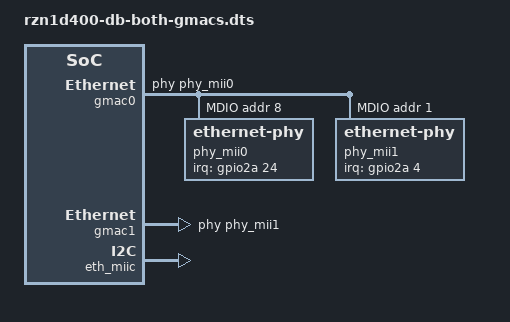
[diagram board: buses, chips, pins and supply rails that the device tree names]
/*
 * Device Tree Source for the RZN1D Demo Board
 * This dts makes Linux control both GMACs. The Cortex M3 controls the PHYs
 * connected to MII3,4,5. These could be controlled using the HWRTOS-GMAC and
 * 5-Port Switch, EtherCAT or SERCOS.
 *
 * This dts sets up:
 *  - GMAC1 is direct to PHY1 (connector J22)
 *  - GMAC2 is direct to PHY2 (connector J23)
 *  - GMAC1 is MDIO1 master
 *  - GMAC1 performs MDIO for both PHY1 and PHY2
 *
 * Note: This dts sets the Mode Control to 0x0b. If you Cortex M3 code sets it
 * to a different value, remove the mode_control line from this file.
 *
 * RZ/N1 Extension Board switches:
 *  - CN15 PHY2/PHY3 MDC  Connect pins 1 and 2 (MDC1)
 *  - CN16 PHY2/PHY3 MDIO Connect pins 1 and 2 (MDIO1)
 * Note: PHY3 is not accessible via MDIO in this hardware configuration.
 *
 * Copyright (C) 2018 Renesas Electronics Europe Ltd
 *
 * This file is licensed under the terms of the GNU General Public License
 * version 2.  This program is licensed "as is" without any warranty of any
 * kind, whether express or implied.
 */

#include "rzn1d400-db.dts"

&gmac0 {
	/* Only accessible from the Ext Board */
	status = "okay";
	pinctrl-names = "default";
	pinctrl-0 = <&pins_mdio0>, <&pins_eth0>;

	phy-handle = <&phy_mii0>;

	mdio0 {
		#address-cells = <1>;
		#size-cells = <0>;
		compatible = "snps,dwmac-mdio";
		phy_mii0: ethernet-phy@8 {
			/* Ext Board: Marvell 88E1512 PHY on J22 */
			device_type = "ethernet-phy";
			phy-mode = "rgmii-id";
			reg = <8>;
			/* Set LED0 as active low link status, LED2 as interrupt */
			marvell,reg-init = <3 16 0 0x1010 3 18 0 0x4980>;
			interrupt-parent = <&gpio2a>;
			interrupts = <24 IRQ_TYPE_LEVEL_LOW>;
		};
		phy_mii1: ethernet-phy@1 {
			/* Ext Board: Marvell 88E1512 PHY on J23 */
			device_type = "ethernet-phy";
			phy-mode = "rgmii-id";
			reg = <1>;
			/* Set LED0 as active low link status, LED2 as interrupt */
			marvell,reg-init = <3 16 0 0x1010 3 18 0 0x4980>;
			interrupt-parent = <&gpio2a>;
			interrupts = <4 IRQ_TYPE_LEVEL_LOW>;
		};
	};
};

&gmac1 {
	status = "okay";
	pinctrl-names = "default";
	pinctrl-0 = <&pins_eth1>;

	phy-handle = <&phy_mii1>;
};

&eth_miic {
	status = "okay";
	pinctrl-names = "default";
	pinctrl-0 = <&pins_refclk>;
	/* RIN Mode Control - GMAC0 on MII0, GMAC1 on MII1, rest on 5-Port Switch */
	mode_control = <0x0b>;

	mii0: eth-mii0 {
		phy-handle = <&phy_mii0>;
	};
	mii1: eth-mii1 {
		phy-handle = <&phy_mii1>;
	};
};
